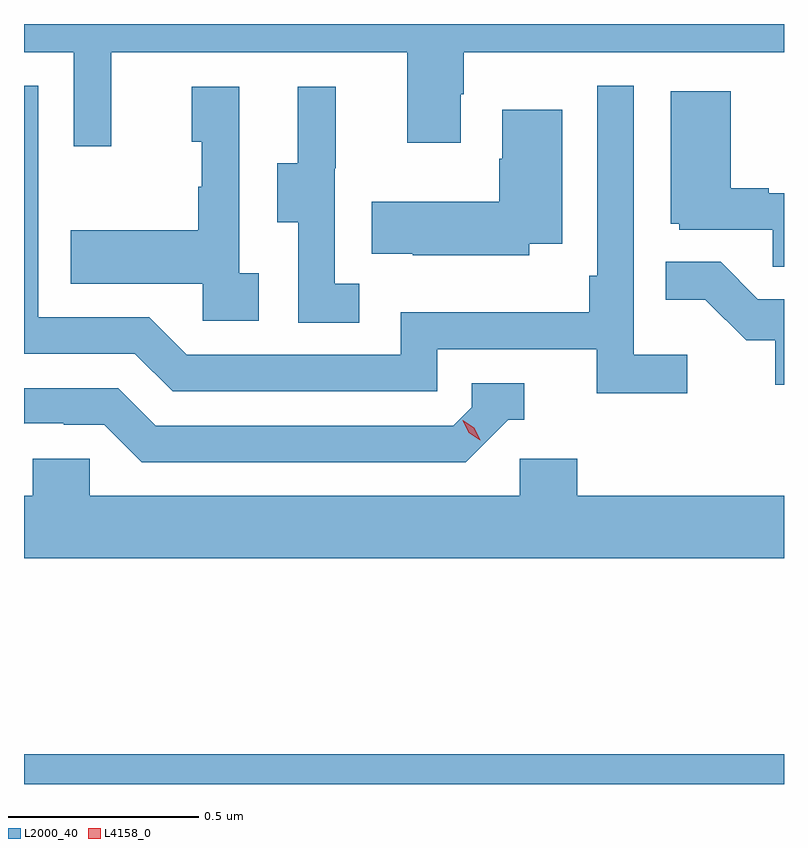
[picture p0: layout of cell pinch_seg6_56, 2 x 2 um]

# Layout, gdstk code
import gdstk
lib = gdstk.Library(unit=1e-6, precision=1e-09)
def R(c, l, rs):  # rectangles x0, y0, x1, y1
    for r in rs: c.add(gdstk.rectangle(r[:2], r[2:], *l))
def P(c, l, *ps):  # polygons
    for p in ps: c.add(gdstk.Polygon(p, *l))
L2000_40 = (2000, 40)
L4158_0 = (4158, 0)

pinch_seg6_56 = lib.new_cell('pinch_seg6_56')
R(pinch_seg6_56, L2000_40, [(973.498,937.418,975.498,937.496)])
P(pinch_seg6_56, L2000_40, [(973.727,939.344),(974.507,939.344),(974.507,939.105),(974.647,939.105),(974.647,939.233),(974.655,939.233),(974.655,939.344),(975.498,939.344),(975.498,939.418),(973.498,939.418),(973.498,939.344),(973.629,939.344),(973.629,939.096),(973.727,939.096)],
  [(975.244,938.548),(975.102,938.548),(975.102,939.256),(975.006,939.256),(975.006,938.755),(974.986,938.755),(974.986,938.659),(974.49,938.659),(974.49,938.547),(973.926,938.547),(973.827,938.646),(973.536,938.646),(973.536,939.255),(973.498,939.255),(973.498,938.55),(973.79,938.55),(973.889,938.451),(974.586,938.451),(974.586,938.562),(975.005,938.562),(975.005,938.446),(975.244,938.446)],
  [(974.116,938.762),(974.064,938.762),(974.064,939.253),(973.94,939.253),(973.94,939.108),(973.966,939.108),(973.966,938.99),(973.956,938.99),(973.956,938.875),(973.621,938.875),(973.621,938.735),(973.968,938.735),(973.968,938.637),(974.116,938.637)],
  [(974.38,938.735),(974.316,938.735),(974.316,939.039),(974.318,939.039),(974.318,939.253),(974.219,939.253),(974.219,939.051),(974.165,939.051),(974.165,938.896),(974.22,938.896),(974.22,938.632),(974.38,938.632)],
  [(975.498,938.973),(975.458,938.973),(975.458,938.986),(975.358,938.986),(975.358,939.241),(975.2,939.241),(975.2,938.892),(975.222,938.892),(975.222,938.877),(975.469,938.877),(975.469,938.779),(975.498,938.779)],
  [(974.827,938.84),(974.914,938.84),(974.914,939.193),(974.756,939.193),(974.756,939.063),(974.749,939.063),(974.749,938.95),(974.413,938.95),(974.413,938.813),(974.521,938.813),(974.521,938.81),(974.827,938.81)],
  [(975.498,938.694),(975.429,938.694),(975.331,938.792),(975.187,938.792),(975.187,938.693),(975.291,938.693),(975.398,938.586),(975.475,938.586),(975.475,938.469),(975.498,938.469)],
  [(974.772,938.376),(974.815,938.376),(974.815,938.472),(974.676,938.472),(974.676,938.409),(974.628,938.361),(973.845,938.361),(973.746,938.46),(973.498,938.46),(973.498,938.366),(973.499,938.367),(973.602,938.367),(973.602,938.364),(973.709,938.364),(973.808,938.265),(974.661,938.265)],
  [(975.498,938.176),(974.954,938.176),(974.954,938.274),(974.802,938.274),(974.802,938.176),(973.671,938.176),(973.671,938.274),(973.521,938.274),(973.521,938.176),(973.498,938.176),(973.498,938.012),(975.498,938.012)])
P(pinch_seg6_56, L4158_0, [(974.699,938.323),(974.668,938.342),(974.652,938.374),(974.652,938.375),(974.652,938.375),(974.683,938.356),(974.699,938.323),(974.699,938.323)])

lib.write_gds('pinch_seg6_56.gds')
